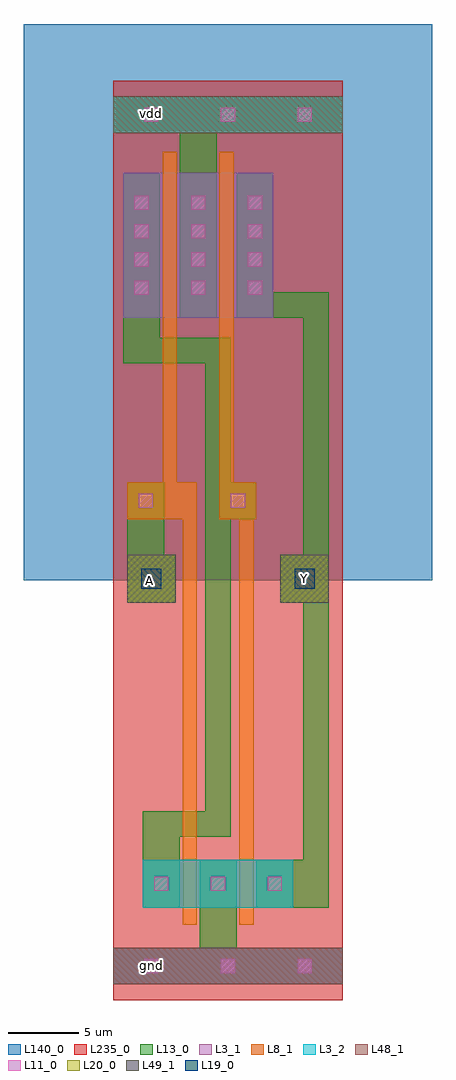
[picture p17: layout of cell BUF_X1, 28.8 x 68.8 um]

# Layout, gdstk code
import gdstk
lib = gdstk.Library(unit=1e-6, precision=1e-09)
def R(c, l, rs):  # rectangles x0, y0, x1, y1
    for r in rs: c.add(gdstk.rectangle(r[:2], r[2:], *l))
def A(c, l, x, y, w, h, nx, ny, dx, dy):  # array of equal rectangles
    R(c, l, [(x+i*dx, y+j*dy, x+i*dx+w, y+j*dy+h) for i in range(nx) for j in range(ny)])
def P(c, l, *ps):  # polygons
    for p in ps: c.add(gdstk.Polygon(p, *l))
L3_1 = (3, 1)
L3_2 = (3, 2)
L8_1 = (8, 1)
L11_0 = (11, 0)
L13_0 = (13, 0)
L19_0 = (19, 0)
L20_0 = (20, 0)
L48_1 = (48, 1)
L49_1 = (49, 1)
L140_0 = (140, 0)
L235_0 = (235, 0)

buf_x1 = lib.new_cell('BUF_X1')
R(buf_x1, L3_1, [(0,1.1,16.2,3.7), (0.7,48.1,7.3,58.3), (4.7,48.1,11.3,58.3)])
R(buf_x1, L3_2, [(2.1,6.5,8.7,9.9), (6.1,6.5,12.7,9.9), (0,61.1,16.2,63.7)])
R(buf_x1, L8_1, [(7.5,33.9,10.1,36.5)])
P(buf_x1, L8_1, [(8.9,5.3),(8.9,11.2),(8.9,33.9),(7.5,33.9),(7.5,36.5),(7.5,59.8),(8.5,59.8),(8.5,36.5),(9.9,36.5),(9.9,12.2),(9.9,5.3)],
  [(4.9,5.3),(4.9,11.2),(4.9,33.9),(1,33.9),(1,36.5),(3.5,36.5),(3.5,59.8),(4.5,59.8),(4.5,36.5),(5.9,36.5),(5.9,12.2),(5.9,5.3)])
A(buf_x1, L11_0, 1.5, 49.7, 1, 1, 1, 4, 0, 2)
A(buf_x1, L11_0, 9.5, 49.7, 1, 1, 1, 4, 0, 2)
R(buf_x1, L11_0, [(2.2,1.9,3.2,2.9), (7.6,1.9,8.6,2.9), (7.6,1.9,8.6,2.9), (13,1.9,14,2.9), (2.9,7.7,3.9,8.7), (6.9,7.7,7.9,8.7), (6.9,7.7,7.9,8.7), (10.9,7.7,11.9,8.7), (1.8,34.7,2.8,35.7), (8.3,34.7,9.3,35.7), (5.5,49.7,6.5,50.7), (5.5,49.7,6.5,50.7), (5.5,51.7,6.5,52.7), (5.5,51.7,6.5,52.7), (5.5,53.7,6.5,54.7), (5.5,53.7,6.5,54.7), (5.5,55.7,6.5,56.7), (5.5,55.7,6.5,56.7), (2.2,61.9,3.2,62.9), (2.2,61.9,3.2,62.9), (7.6,61.9,8.6,62.9), (7.6,61.9,8.6,62.9), (7.6,61.9,8.6,62.9), (7.6,61.9,8.6,62.9), (13,61.9,14,62.9)])
R(buf_x1, L13_0, [(0,1.1,16.2,3.7), (6.1,3.7,8.7,9.9), (7.5,33.9,10.1,36.5), (4.7,48.1,7.3,61.1), (0,61.1,16.2,63.7)])
P(buf_x1, L13_0, [(1,28),(1,36.5),(3.6,36.5),(3.6,31.4),(4.4,31.4),(4.4,28)],
  [(2.1,6.5),(2.1,13.3),(6.5,13.3),(6.5,44.9),(0.7,44.9),(0.7,58.3),(3.3,58.3),(3.3,46.7),(8.3,46.7),(8.3,11.5),(4.7,11.5),(4.7,6.5)],
  [(10.1,6.5),(10.1,9.9),(13.4,9.9),(13.4,28),(11.8,28),(11.8,31.4),(13.4,31.4),(13.4,48.1),(8.7,48.1),(8.7,58.3),(11.3,58.3),(11.3,49.9),(15.2,49.9),(15.2,6.5)])
R(buf_x1, L19_0, [(2,29,3.4,30.4), (12.8,29,14.2,30.4)])
R(buf_x1, L20_0, [(1,28,4.4,31.4), (11.8,28,15.2,31.4)])
R(buf_x1, L48_1, [(0,1.1,16.2,3.7), (0,61.1,16.2,63.7)])
R(buf_x1, L49_1, [(1,28,4.4,31.4), (11.8,28,15.2,31.4)])
R(buf_x1, L140_0, [(-6.3,29.6,22.5,68.8)])
R(buf_x1, L235_0, [(0,0,16.2,64.8)])
buf_x1.add(gdstk.Label('A', (2.6,29.6), layer=49, texttype=0))
buf_x1.add(gdstk.Label('Y', (13.5,29.7), layer=49, texttype=0))
buf_x1.add(gdstk.Label('gnd', (2.7,2.4), layer=48, texttype=0))
buf_x1.add(gdstk.Label('vdd', (2.7,62.5), layer=48, texttype=0))

lib.write_gds('BUF_X1.gds')
